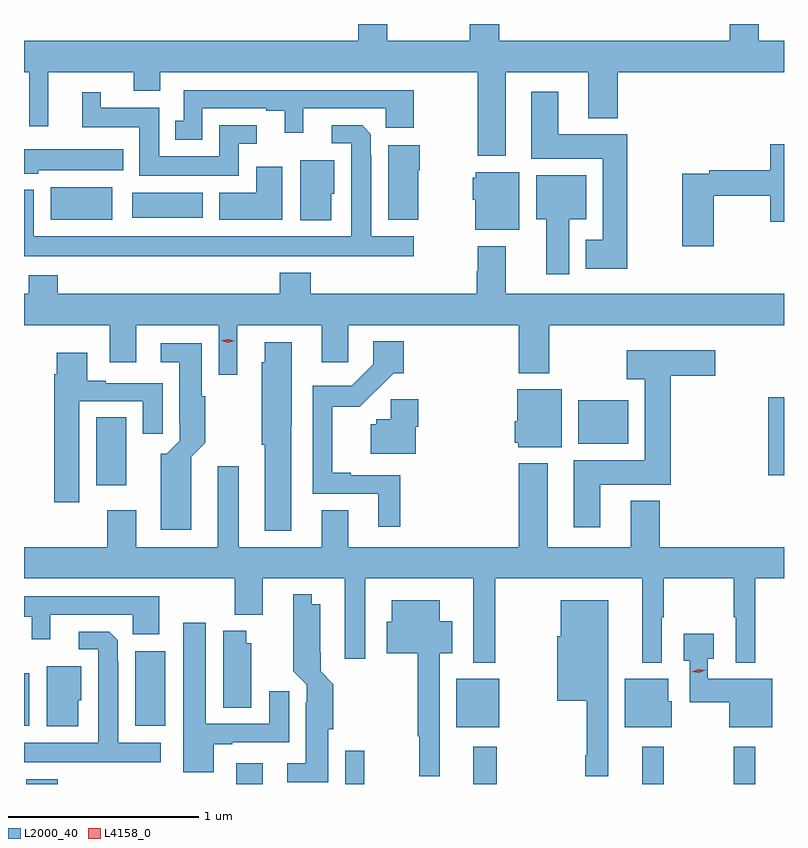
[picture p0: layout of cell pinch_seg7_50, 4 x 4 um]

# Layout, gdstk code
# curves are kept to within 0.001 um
import gdstk
lib = gdstk.Library(unit=1e-6, precision=1e-09)
def R(c, l, rs):  # rectangles x0, y0, x1, y1
    for r in rs: c.add(gdstk.rectangle(r[:2], r[2:], *l))
def P(c, l, *ps):  # polygons
    for p in ps: c.add(gdstk.Polygon(p, *l))
L2000_40 = (2000, 40)
L4158_0 = (4158, 0)

pinch_seg7_50 = lib.new_cell('pinch_seg7_50')
R(pinch_seg7_50, L2000_40, [(975.071,1046.153,975.236,1046.179), (976.175,1046.153,976.315,1046.263), (976.749,1046.153,976.85,1046.329), (977.423,1046.153,977.545,1046.35), (978.311,1046.153,978.425,1046.35), (978.793,1046.153,978.907,1046.35), (977.333,1046.453,977.56,1046.707), (975.058,1046.459,975.085,1046.737), (975.644,1046.459,975.802,1046.851), (975.437,1047.726,975.595,1048.082), (978.974,1047.779,979.058,1048.189), (977.975,1047.944,978.238,1048.174), (975.2,1049.123,975.523,1049.293), (975.627,1049.132,976,1049.266)])
P(pinch_seg7_50, L2000_40, [(977.593,1049.9),(978.029,1049.9),(978.029,1049.657),(978.182,1049.657),(978.182,1049.9),(979.058,1049.9),(979.058,1050.064),(978.925,1050.064),(978.925,1050.153),(978.773,1050.153),(978.773,1050.064),(977.558,1050.064),(977.558,1050.153),(977.405,1050.153),(977.405,1050.064),(976.969,1050.064),(976.969,1050.153),(976.817,1050.153),(976.817,1050.064),(975.058,1050.064),(975.058,1049.9),(975.086,1049.9),(975.086,1049.616),(975.185,1049.616),(975.185,1049.9),(975.635,1049.9),(975.635,1049.801),(975.775,1049.801),(975.775,1049.9),(977.446,1049.9),(977.446,1049.459),(977.593,1049.459)],
  [(975.996,1049.709),(976.334,1049.709),(976.334,1049.697),(976.43,1049.697),(976.43,1049.58),(976.528,1049.58),(976.528,1049.709),(976.962,1049.709),(976.962,1049.606),(977.109,1049.606),(977.109,1049.805),(975.9,1049.805),(975.9,1049.643),(975.854,1049.643),(975.854,1049.543),(975.996,1049.543)],
  [(978.234,1049.572),(977.869,1049.572),(977.869,1049.797),(977.729,1049.797),(977.729,1049.444),(978.104,1049.444),(978.104,1049.017),(978.014,1049.017),(978.014,1048.865),(978.234,1048.865)],
  [(976.189,1049.523),(976.282,1049.523),(976.282,1049.619),(976.085,1049.619),(976.085,1049.458),(975.769,1049.458),(975.769,1049.713),(975.463,1049.713),(975.463,1049.794),(975.365,1049.794),(975.365,1049.609),(975.665,1049.609),(975.665,1049.354),(976.189,1049.354)],
  [(977.11,1049.035),(976.885,1049.035),(976.884,1049.573),(976.838,1049.619),(976.677,1049.619),(976.677,1049.526),(976.781,1049.526),(976.781,1049.035),(975.108,1049.035),(975.108,1049.281),(975.058,1049.281),(975.058,1048.931),(977.11,1048.931)],
  [(978.688,1049.248),(978.986,1049.248),(978.986,1049.111),(979.058,1049.111),(979.058,1049.521),(978.986,1049.521),(978.986,1049.384),(978.664,1049.384),(978.664,1049.364),(978.523,1049.364),(978.523,1048.983),(978.688,1048.983)],
  [(977.134,1049.384),(977.142,1049.384),(977.142,1049.515),(976.976,1049.515),(976.976,1049.123),(977.134,1049.123)],
  [(975.132,1049.384),(975.58,1049.384),(975.58,1049.494),(975.058,1049.494),(975.058,1049.366),(975.132,1049.366)],
  [(976.675,1049.259),(976.69,1049.259),(976.69,1049.437),(976.511,1049.437),(976.511,1049.12),(976.675,1049.12)],
  [(976.417,1049.401),(976.28,1049.401),(976.28,1049.266),(976.085,1049.266),(976.085,1049.123),(976.417,1049.123)],
  [(977.665,1049.374),(977.436,1049.374),(977.436,1049.343),(977.42,1049.343),(977.42,1049.229),(977.432,1049.229),(977.432,1049.069),(977.665,1049.069)],
  [(977.929,1049.126),(978.016,1049.126),(978.016,1049.356),(977.753,1049.356),(977.753,1049.126),(977.807,1049.126),(977.807,1048.836),(977.929,1048.836)],
  [(976.18,1048.568),(976.625,1048.568),(976.625,1048.374),(976.764,1048.374),(976.764,1048.568),(977.663,1048.568),(977.663,1048.316),(977.823,1048.316),(977.823,1048.568),(979.058,1048.568),(979.058,1048.732),(977.593,1048.732),(977.593,1048.984),(977.446,1048.984),(977.446,1048.853),(977.441,1048.853),(977.441,1048.732),(976.568,1048.732),(976.568,1048.843),(976.403,1048.843),(976.403,1048.732),(975.236,1048.732),(975.236,1048.831),(975.083,1048.831),(975.083,1048.732),(975.058,1048.732),(975.058,1048.568),(975.509,1048.568),(975.509,1048.374),(975.649,1048.374),(975.649,1048.568),(976.083,1048.568),(976.083,1048.308),(976.18,1048.308)],
  [(977.039,1047.777),(976.777,1047.777),(976.777,1047.79),(976.681,1047.79),(976.681,1048.139),(976.825,1048.139),(977.003,1048.316),(977.057,1048.316),(977.057,1048.483),(976.896,1048.483),(976.896,1048.362),(976.782,1048.248),(976.577,1048.248),(976.577,1047.681),(976.922,1047.681),(976.922,1047.507),(977.039,1047.507)],
  [(976.465,1048.038),(976.468,1048.038),(976.468,1048.477),(976.325,1048.477),(976.325,1048.374),(976.31,1048.374),(976.31,1047.938),(976.325,1047.938),(976.325,1047.485),(976.465,1047.485)],
  [(975.937,1047.776),(975.938,1047.875),(976.012,1047.949),(976.012,1048.194),(975.994,1048.194),(975.994,1048.474),(975.777,1048.474),(975.777,1048.373),(975.875,1048.373),(975.875,1048.054),(975.879,1048.054),(975.879,1047.96),(975.809,1047.89),(975.779,1047.89),(975.779,1047.491),(975.937,1047.491)],
  [(978.091,1047.728),(978.461,1047.728),(978.461,1048.301),(978.697,1048.301),(978.697,1048.435),(978.231,1048.435),(978.231,1048.283),(978.326,1048.283),(978.326,1047.856),(977.951,1047.856),(977.951,1047.504),(978.091,1047.504)],
  [(975.349,1048.167),(975.683,1048.167),(975.683,1047.996),(975.787,1047.996),(975.787,1048.263),(975.487,1048.263),(975.487,1048.276),(975.391,1048.276),(975.391,1048.423),(975.23,1048.423),(975.23,1048.31),(975.218,1048.31),(975.218,1047.636),(975.349,1047.636)],
  [(977.887,1048.231),(977.654,1048.231),(977.654,1048.062),(977.642,1048.062),(977.642,1047.948),(977.658,1047.948),(977.658,1047.926),(977.887,1047.926)],
  [(977.119,1048.032),(977.132,1048.032),(977.132,1048.179),(976.987,1048.179),(976.987,1048.074),(976.911,1048.074),(976.911,1048.047),(976.883,1048.047),(976.883,1047.89),(977.119,1047.89)],
  [(978.404,1047.643),(978.251,1047.643),(978.251,1047.4),(977.815,1047.4),(977.815,1047.841),(977.663,1047.841),(977.663,1047.4),(976.765,1047.4),(976.765,1047.595),(976.625,1047.595),(976.625,1047.4),(976.189,1047.4),(976.189,1047.826),(976.079,1047.826),(976.079,1047.4),(975.649,1047.4),(975.649,1047.595),(975.497,1047.595),(975.497,1047.4),(975.058,1047.4),(975.058,1047.236),(976.168,1047.236),(976.168,1047.044),(976.315,1047.044),(976.315,1047.236),(976.745,1047.236),(976.745,1046.811),(976.855,1046.811),(976.855,1047.236),(977.423,1047.236),(977.423,1046.792),(977.537,1046.792),(977.537,1047.236),(978.311,1047.236),(978.311,1046.792),(978.415,1046.792),(978.415,1047.031),(978.425,1047.031),(978.425,1047.236),(978.793,1047.236),(978.793,1047.031),(978.803,1047.031),(978.803,1046.792),(978.907,1046.792),(978.907,1047.236),(979.058,1047.236),(979.058,1047.4),(978.404,1047.4)],
  [(976.66,1046.442),(976.686,1046.442),(976.686,1046.679),(976.619,1046.746),(976.618,1047.1),(976.573,1047.1),(976.573,1047.151),(976.476,1047.151),(976.475,1046.746),(976.545,1046.676),(976.545,1046.582),(976.541,1046.582),(976.541,1046.263),(976.443,1046.263),(976.443,1046.162),(976.66,1046.162)],
  [(975.196,1047.045),(975.63,1047.045),(975.63,1046.942),(975.769,1046.942),(975.769,1047.141),(975.058,1047.141),(975.058,1047.033),(975.098,1047.033),(975.098,1046.916),(975.196,1046.916)],
  [(978.133,1047.121),(977.882,1047.121),(977.882,1046.931),(977.864,1046.931),(977.864,1046.591),(978.019,1046.591),(978.019,1046.305),(978.012,1046.305),(978.012,1046.193),(978.133,1046.193)],
  [(977.245,1046.84),(977.311,1046.84),(977.311,1047.01),(977.245,1047.01),(977.245,1047.121),(976.994,1047.121),(976.994,1047.006),(976.967,1047.006),(976.967,1046.84),(977.131,1046.84),(977.131,1046.405),(977.139,1046.405),(977.139,1046.193),(977.245,1046.193)],
  [(976.057,1046.361),(976.153,1046.361),(976.153,1046.373),(976.453,1046.373),(976.453,1046.641),(976.349,1046.641),(976.349,1046.469),(976.015,1046.469),(976.015,1047.001),(975.896,1047.001),(975.896,1046.214),(976.057,1046.214)],
  [(976.255,1046.895),(976.228,1046.895),(976.228,1046.959),(976.106,1046.959),(976.106,1046.554),(976.255,1046.554)],
  [(975.778,1046.371),(975.553,1046.371),(975.552,1046.909),(975.506,1046.955),(975.345,1046.955),(975.345,1046.862),(975.449,1046.862),(975.449,1046.371),(975.058,1046.371),(975.058,1046.267),(975.778,1046.267)],
  [(978.997,1046.707),(978.657,1046.707),(978.657,1046.813),(978.688,1046.813),(978.688,1046.943),(978.53,1046.943),(978.53,1046.801),(978.561,1046.801),(978.561,1046.584),(978.77,1046.584),(978.77,1046.453),(978.997,1046.453)],
  [(975.343,1046.595),(975.358,1046.595),(975.358,1046.773),(975.179,1046.773),(975.179,1046.456),(975.343,1046.456)],
  [(978.466,1046.589),(978.448,1046.589),(978.448,1046.707),(978.221,1046.707),(978.221,1046.453),(978.466,1046.453)])
P(pinch_seg7_50, L4158_0, [(978.61,1046.738),(978.573,1046.744),(978.573,1046.744),(978.573,1046.744),(978.608,1046.758),(978.644,1046.752),(978.645,1046.752),(978.644,1046.752)],
  [(976.131,1048.475),(976.095,1048.485),(976.095,1048.485),(976.095,1048.486),(976.131,1048.495),(976.166,1048.486),(976.166,1048.485),(976.166,1048.485)])

lib.write_gds('pinch_seg7_50.gds')
